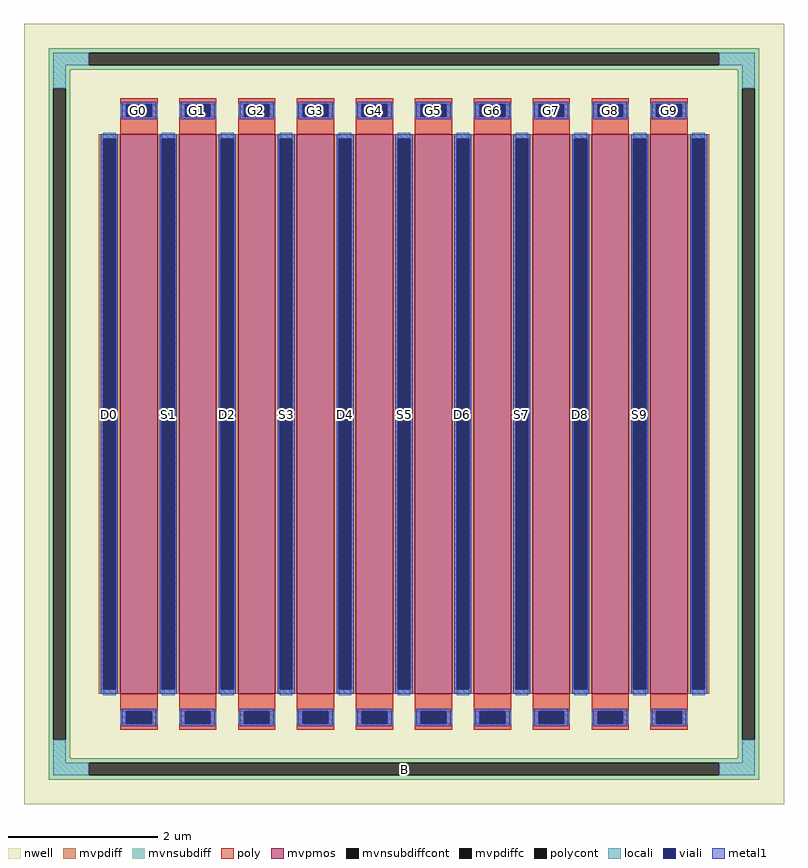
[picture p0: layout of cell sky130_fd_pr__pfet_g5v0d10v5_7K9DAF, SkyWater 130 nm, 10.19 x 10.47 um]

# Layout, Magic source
magic
tech sky130A
magscale 1 2
<< nwell >>
rect -1019 -1047 1019 1047
<< mvpmos >>
rect -761 -750 -661 750
rect -603 -750 -503 750
rect -445 -750 -345 750
rect -287 -750 -187 750
rect -129 -750 -29 750
rect 29 -750 129 750
rect 187 -750 287 750
rect 345 -750 445 750
rect 503 -750 603 750
rect 661 -750 761 750
<< mvpdiff >>
rect -819 738 -761 750
rect -819 -738 -807 738
rect -773 -738 -761 738
rect -819 -750 -761 -738
rect -661 738 -603 750
rect -661 -738 -649 738
rect -615 -738 -603 738
rect -661 -750 -603 -738
rect -503 738 -445 750
rect -503 -738 -491 738
rect -457 -738 -445 738
rect -503 -750 -445 -738
rect -345 738 -287 750
rect -345 -738 -333 738
rect -299 -738 -287 738
rect -345 -750 -287 -738
rect -187 738 -129 750
rect -187 -738 -175 738
rect -141 -738 -129 738
rect -187 -750 -129 -738
rect -29 738 29 750
rect -29 -738 -17 738
rect 17 -738 29 738
rect -29 -750 29 -738
rect 129 738 187 750
rect 129 -738 141 738
rect 175 -738 187 738
rect 129 -750 187 -738
rect 287 738 345 750
rect 287 -738 299 738
rect 333 -738 345 738
rect 287 -750 345 -738
rect 445 738 503 750
rect 445 -738 457 738
rect 491 -738 503 738
rect 445 -750 503 -738
rect 603 738 661 750
rect 603 -738 615 738
rect 649 -738 661 738
rect 603 -750 661 -738
rect 761 738 819 750
rect 761 -738 773 738
rect 807 -738 819 738
rect 761 -750 819 -738
<< mvpdiffc >>
rect -807 -738 -773 738
rect -649 -738 -615 738
rect -491 -738 -457 738
rect -333 -738 -299 738
rect -175 -738 -141 738
rect -17 -738 17 738
rect 141 -738 175 738
rect 299 -738 333 738
rect 457 -738 491 738
rect 615 -738 649 738
rect 773 -738 807 738
<< mvnsubdiff >>
rect -953 969 953 981
rect -953 935 -845 969
rect 845 935 953 969
rect -953 923 953 935
rect -953 873 -895 923
rect -953 -873 -941 873
rect -907 -873 -895 873
rect 895 873 953 923
rect -953 -923 -895 -873
rect 895 -873 907 873
rect 941 -873 953 873
rect 895 -923 953 -873
rect -953 -935 953 -923
rect -953 -969 -845 -935
rect 845 -969 953 -935
rect -953 -981 953 -969
<< mvnsubdiffcont >>
rect -845 935 845 969
rect -941 -873 -907 873
rect 907 -873 941 873
rect -845 -969 845 -935
<< poly >>
rect -761 831 -661 847
rect -761 797 -745 831
rect -677 797 -661 831
rect -761 750 -661 797
rect -603 831 -503 847
rect -603 797 -587 831
rect -519 797 -503 831
rect -603 750 -503 797
rect -445 831 -345 847
rect -445 797 -429 831
rect -361 797 -345 831
rect -445 750 -345 797
rect -287 831 -187 847
rect -287 797 -271 831
rect -203 797 -187 831
rect -287 750 -187 797
rect -129 831 -29 847
rect -129 797 -113 831
rect -45 797 -29 831
rect -129 750 -29 797
rect 29 831 129 847
rect 29 797 45 831
rect 113 797 129 831
rect 29 750 129 797
rect 187 831 287 847
rect 187 797 203 831
rect 271 797 287 831
rect 187 750 287 797
rect 345 831 445 847
rect 345 797 361 831
rect 429 797 445 831
rect 345 750 445 797
rect 503 831 603 847
rect 503 797 519 831
rect 587 797 603 831
rect 503 750 603 797
rect 661 831 761 847
rect 661 797 677 831
rect 745 797 761 831
rect 661 750 761 797
rect -761 -797 -661 -750
rect -761 -831 -745 -797
rect -677 -831 -661 -797
rect -761 -847 -661 -831
rect -603 -797 -503 -750
rect -603 -831 -587 -797
rect -519 -831 -503 -797
rect -603 -847 -503 -831
rect -445 -797 -345 -750
rect -445 -831 -429 -797
rect -361 -831 -345 -797
rect -445 -847 -345 -831
rect -287 -797 -187 -750
rect -287 -831 -271 -797
rect -203 -831 -187 -797
rect -287 -847 -187 -831
rect -129 -797 -29 -750
rect -129 -831 -113 -797
rect -45 -831 -29 -797
rect -129 -847 -29 -831
rect 29 -797 129 -750
rect 29 -831 45 -797
rect 113 -831 129 -797
rect 29 -847 129 -831
rect 187 -797 287 -750
rect 187 -831 203 -797
rect 271 -831 287 -797
rect 187 -847 287 -831
rect 345 -797 445 -750
rect 345 -831 361 -797
rect 429 -831 445 -797
rect 345 -847 445 -831
rect 503 -797 603 -750
rect 503 -831 519 -797
rect 587 -831 603 -797
rect 503 -847 603 -831
rect 661 -797 761 -750
rect 661 -831 677 -797
rect 745 -831 761 -797
rect 661 -847 761 -831
<< polycont >>
rect -745 797 -677 831
rect -587 797 -519 831
rect -429 797 -361 831
rect -271 797 -203 831
rect -113 797 -45 831
rect 45 797 113 831
rect 203 797 271 831
rect 361 797 429 831
rect 519 797 587 831
rect 677 797 745 831
rect -745 -831 -677 -797
rect -587 -831 -519 -797
rect -429 -831 -361 -797
rect -271 -831 -203 -797
rect -113 -831 -45 -797
rect 45 -831 113 -797
rect 203 -831 271 -797
rect 361 -831 429 -797
rect 519 -831 587 -797
rect 677 -831 745 -797
<< locali >>
rect -941 935 -845 969
rect 845 935 941 969
rect -941 873 -907 935
rect 907 873 941 935
rect -761 797 -745 831
rect -677 797 -661 831
rect -603 797 -587 831
rect -519 797 -503 831
rect -445 797 -429 831
rect -361 797 -345 831
rect -287 797 -271 831
rect -203 797 -187 831
rect -129 797 -113 831
rect -45 797 -29 831
rect 29 797 45 831
rect 113 797 129 831
rect 187 797 203 831
rect 271 797 287 831
rect 345 797 361 831
rect 429 797 445 831
rect 503 797 519 831
rect 587 797 603 831
rect 661 797 677 831
rect 745 797 761 831
rect -807 738 -773 754
rect -807 -754 -773 -738
rect -649 738 -615 754
rect -649 -754 -615 -738
rect -491 738 -457 754
rect -491 -754 -457 -738
rect -333 738 -299 754
rect -333 -754 -299 -738
rect -175 738 -141 754
rect -175 -754 -141 -738
rect -17 738 17 754
rect -17 -754 17 -738
rect 141 738 175 754
rect 141 -754 175 -738
rect 299 738 333 754
rect 299 -754 333 -738
rect 457 738 491 754
rect 457 -754 491 -738
rect 615 738 649 754
rect 615 -754 649 -738
rect 773 738 807 754
rect 773 -754 807 -738
rect -761 -831 -745 -797
rect -677 -831 -661 -797
rect -603 -831 -587 -797
rect -519 -831 -503 -797
rect -445 -831 -429 -797
rect -361 -831 -345 -797
rect -287 -831 -271 -797
rect -203 -831 -187 -797
rect -129 -831 -113 -797
rect -45 -831 -29 -797
rect 29 -831 45 -797
rect 113 -831 129 -797
rect 187 -831 203 -797
rect 271 -831 287 -797
rect 345 -831 361 -797
rect 429 -831 445 -797
rect 503 -831 519 -797
rect 587 -831 603 -797
rect 661 -831 677 -797
rect 745 -831 761 -797
rect -941 -935 -907 -873
rect 907 -935 941 -873
rect -941 -969 -845 -935
rect 845 -969 941 -935
<< viali >>
rect -745 797 -677 831
rect -587 797 -519 831
rect -429 797 -361 831
rect -271 797 -203 831
rect -113 797 -45 831
rect 45 797 113 831
rect 203 797 271 831
rect 361 797 429 831
rect 519 797 587 831
rect 677 797 745 831
rect -807 -738 -773 738
rect -649 -738 -615 738
rect -491 -738 -457 738
rect -333 -738 -299 738
rect -175 -738 -141 738
rect -17 -738 17 738
rect 141 -738 175 738
rect 299 -738 333 738
rect 457 -738 491 738
rect 615 -738 649 738
rect 773 -738 807 738
rect -745 -831 -677 -797
rect -587 -831 -519 -797
rect -429 -831 -361 -797
rect -271 -831 -203 -797
rect -113 -831 -45 -797
rect 45 -831 113 -797
rect 203 -831 271 -797
rect 361 -831 429 -797
rect 519 -831 587 -797
rect 677 -831 745 -797
<< metal1 >>
rect -757 831 -665 837
rect -757 797 -745 831
rect -677 797 -665 831
rect -757 791 -665 797
rect -599 831 -507 837
rect -599 797 -587 831
rect -519 797 -507 831
rect -599 791 -507 797
rect -441 831 -349 837
rect -441 797 -429 831
rect -361 797 -349 831
rect -441 791 -349 797
rect -283 831 -191 837
rect -283 797 -271 831
rect -203 797 -191 831
rect -283 791 -191 797
rect -125 831 -33 837
rect -125 797 -113 831
rect -45 797 -33 831
rect -125 791 -33 797
rect 33 831 125 837
rect 33 797 45 831
rect 113 797 125 831
rect 33 791 125 797
rect 191 831 283 837
rect 191 797 203 831
rect 271 797 283 831
rect 191 791 283 797
rect 349 831 441 837
rect 349 797 361 831
rect 429 797 441 831
rect 349 791 441 797
rect 507 831 599 837
rect 507 797 519 831
rect 587 797 599 831
rect 507 791 599 797
rect 665 831 757 837
rect 665 797 677 831
rect 745 797 757 831
rect 665 791 757 797
rect -813 738 -767 750
rect -813 -738 -807 738
rect -773 -738 -767 738
rect -813 -750 -767 -738
rect -655 738 -609 750
rect -655 -738 -649 738
rect -615 -738 -609 738
rect -655 -750 -609 -738
rect -497 738 -451 750
rect -497 -738 -491 738
rect -457 -738 -451 738
rect -497 -750 -451 -738
rect -339 738 -293 750
rect -339 -738 -333 738
rect -299 -738 -293 738
rect -339 -750 -293 -738
rect -181 738 -135 750
rect -181 -738 -175 738
rect -141 -738 -135 738
rect -181 -750 -135 -738
rect -23 738 23 750
rect -23 -738 -17 738
rect 17 -738 23 738
rect -23 -750 23 -738
rect 135 738 181 750
rect 135 -738 141 738
rect 175 -738 181 738
rect 135 -750 181 -738
rect 293 738 339 750
rect 293 -738 299 738
rect 333 -738 339 738
rect 293 -750 339 -738
rect 451 738 497 750
rect 451 -738 457 738
rect 491 -738 497 738
rect 451 -750 497 -738
rect 609 738 655 750
rect 609 -738 615 738
rect 649 -738 655 738
rect 609 -750 655 -738
rect 767 738 813 750
rect 767 -738 773 738
rect 807 -738 813 738
rect 767 -750 813 -738
rect -757 -797 -665 -791
rect -757 -831 -745 -797
rect -677 -831 -665 -797
rect -757 -837 -665 -831
rect -599 -797 -507 -791
rect -599 -831 -587 -797
rect -519 -831 -507 -797
rect -599 -837 -507 -831
rect -441 -797 -349 -791
rect -441 -831 -429 -797
rect -361 -831 -349 -797
rect -441 -837 -349 -831
rect -283 -797 -191 -791
rect -283 -831 -271 -797
rect -203 -831 -191 -797
rect -283 -837 -191 -831
rect -125 -797 -33 -791
rect -125 -831 -113 -797
rect -45 -831 -33 -797
rect -125 -837 -33 -831
rect 33 -797 125 -791
rect 33 -831 45 -797
rect 113 -831 125 -797
rect 33 -837 125 -831
rect 191 -797 283 -791
rect 191 -831 203 -797
rect 271 -831 283 -797
rect 191 -837 283 -831
rect 349 -797 441 -791
rect 349 -831 361 -797
rect 429 -831 441 -797
rect 349 -837 441 -831
rect 507 -797 599 -791
rect 507 -831 519 -797
rect 587 -831 599 -797
rect 507 -837 599 -831
rect 665 -797 757 -791
rect 665 -831 677 -797
rect 745 -831 757 -797
rect 665 -837 757 -831
<< labels >>
rlabel mvnsubdiffcont 0 -952 0 -952 0 B
port 1 nsew
rlabel mvpdiffc -790 0 -790 0 0 D0
port 2 nsew
rlabel polycont -711 814 -711 814 0 G0
port 3 nsew
rlabel mvpdiffc -632 0 -632 0 0 S1
port 4 nsew
rlabel polycont -553 814 -553 814 0 G1
port 5 nsew
rlabel mvpdiffc -474 0 -474 0 0 D2
port 6 nsew
rlabel polycont -395 814 -395 814 0 G2
port 7 nsew
rlabel mvpdiffc -316 0 -316 0 0 S3
port 8 nsew
rlabel polycont -237 814 -237 814 0 G3
port 9 nsew
rlabel mvpdiffc -158 0 -158 0 0 D4
port 10 nsew
rlabel polycont -79 814 -79 814 0 G4
port 11 nsew
rlabel mvpdiffc 0 0 0 0 0 S5
port 12 nsew
rlabel polycont 79 814 79 814 0 G5
port 13 nsew
rlabel mvpdiffc 158 0 158 0 0 D6
port 14 nsew
rlabel polycont 237 814 237 814 0 G6
port 15 nsew
rlabel mvpdiffc 316 0 316 0 0 S7
port 16 nsew
rlabel polycont 395 814 395 814 0 G7
port 17 nsew
rlabel mvpdiffc 474 0 474 0 0 D8
port 18 nsew
rlabel polycont 553 814 553 814 0 G8
port 19 nsew
rlabel mvpdiffc 632 0 632 0 0 S9
port 20 nsew
rlabel polycont 711 814 711 814 0 G9
port 21 nsew
<< properties >>
string FIXED_BBOX -924 -952 924 952
string gencell sky130_fd_pr__pfet_g5v0d10v5
string library sky130
string parameters w 7.5 l 0.50 m 1 nf 10 diffcov 100 polycov 100 guard 1 glc 1 grc 1 gtc 1 gbc 1 tbcov 100 rlcov 100 topc 1 botc 1 poverlap 0 doverlap 1 lmin 0.50 wmin 0.42 class mosfet compatible {sky130_fd_pr__pfet_01v8  sky130_fd_pr__pfet_01v8_lvt sky130_fd_pr__pfet_01v8_hvt  sky130_fd_pr__pfet_g5v0d10v5} full_metal 1 conn_gates 0 viasrc 100 viadrn 100 viagate 100 viagb 0 viagr 0 viagl 0 viagt 0 doports 1
<< end >>
